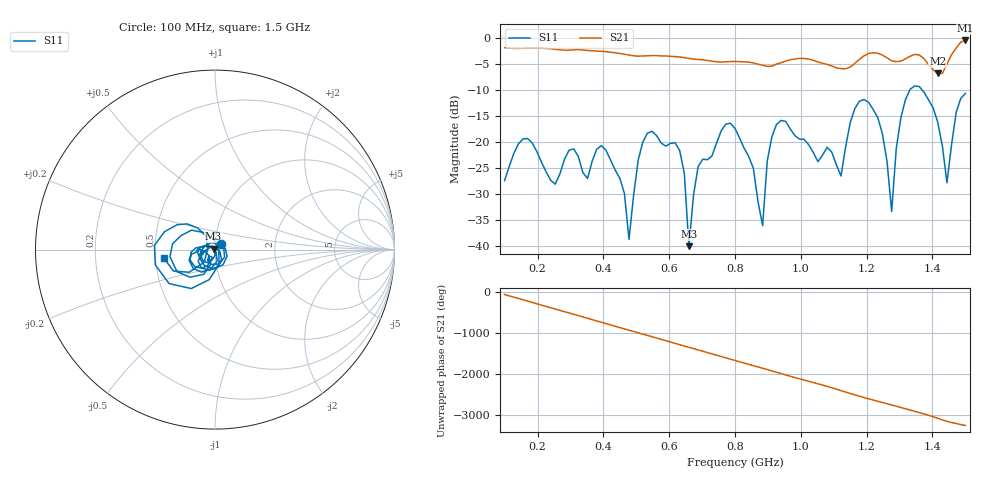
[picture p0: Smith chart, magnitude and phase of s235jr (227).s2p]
! NanoVNA-App
! Date: 2025-09-25 15:05:56
! Start: 100MHz Stop: 1,5GHz Points: 101
! S-Parameter data: F S11 S21 S12 S22
# Hz S RI R 50
!  Frequency  S11_Real  S11_Imag  S21_Real  S21_Imag  S12_Real  S12_Imag  S22_Real  S22_Imag
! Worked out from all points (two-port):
!   101 points, 100 MHz to 1.5 GHz, reference 50 ohm
!   highest |S21| = -0.56 dB at 1.5 GHz (marker M1); lowest = -6.9 dB at 1.416 GHz (marker M2)
!   |S21| within 3 dB of the highest: start of sweep to 501.7 MHz; 512.9 MHz to 595 MHz (82.07 MHz wide, 14.8 % of centre) (the widest 2 of 5)
!   lowest |S11| = -40.1 dB at 660 MHz (marker M3), VSWR 1.02, Z = 49.2 + j0.544 ohm
!   |S11| at or under -10 dB: start of sweep to 1.332 GHz; 1.368 GHz to end of sweep
!   S12 and S22 are empty: the file has one direction only
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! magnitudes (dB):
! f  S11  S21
! 100 MHz  -27.5  -2.0
! 156 MHz  -19.5  -2.1
! 338 MHz  -26.0  -2.4
! 408 MHz  -21.6  -2.7
! 478 MHz  -38.8  -3.4
! 520 MHz  -20.1  -3.5
! 576 MHz  -20.3  -3.5
! 632 MHz  -21.7  -3.7
! 660 MHz  -40.1  -4.0
! 688 MHz  -24.8  -4.2
! 800 MHz  -17.5  -4.6
! 884 MHz  -36.1  -5.3
! 926 MHz  -16.7  -5.1
! 1.038 GHz  -22.1  -4.4
! 1.122 GHz  -26.6  -6.0
! 1.206 GHz  -12.5  -3.1
! 1.248 GHz  -18.5  -3.4
! 1.276 GHz  -33.4  -4.5
! 1.332 GHz  -9.9  -3.6
! 1.416 GHz  -16.3  -6.9
! 1.444 GHz  -27.9  -5.1
! 1.5 GHz  -10.7  -0.6
